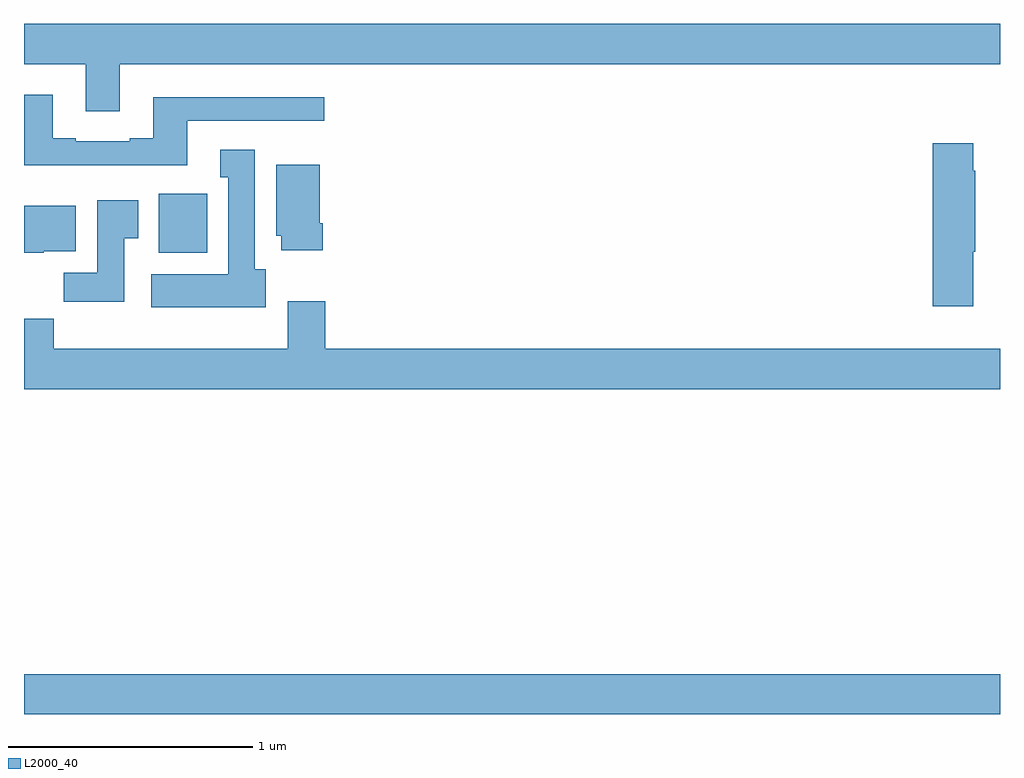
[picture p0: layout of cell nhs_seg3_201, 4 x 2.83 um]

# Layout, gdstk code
import gdstk
lib = gdstk.Library(unit=1e-6, precision=1e-09)
def R(c, l, rs):  # rectangles x0, y0, x1, y1
    for r in rs: c.add(gdstk.rectangle(r[:2], r[2:], *l))
def P(c, l, *ps):  # polygons
    for p in ps: c.add(gdstk.Polygon(p, *l))
L2000_40 = (2000, 40)

nhs_seg3_201 = lib.new_cell('nhs_seg3_201')
R(nhs_seg3_201, L2000_40, [(121,668.948,125,669.112), (121.553,670.838,121.75,671.08)])
P(nhs_seg3_201, L2000_40, [(121.393,671.612),(125,671.612),(125,671.776),(121,671.776),(121,671.612),(121.253,671.612),(121.253,671.418),(121.393,671.418)],
  [(121.669,671.379),(122.23,671.379),(122.23,671.476),(121.529,671.476),(121.529,671.308),(121.433,671.308),(121.433,671.295),(121.213,671.295),(121.213,671.308),(121.117,671.308),(121.117,671.485),(121,671.485),(121,671.198),(121.669,671.198)],
  [(124.891,670.843),(124.899,670.843),(124.899,671.174),(124.891,671.174),(124.891,671.287),(124.724,671.287),(124.724,670.62),(124.891,670.62)],
  [(121.99,670.77),(121.945,670.77),(121.945,671.26),(121.805,671.26),(121.805,671.147),(121.838,671.147),(121.838,670.75),(121.521,670.75),(121.521,670.616),(121.99,670.616)],
  [(122.225,670.96),(122.212,670.96),(122.212,671.2),(122.033,671.2),(122.033,670.908),(122.054,670.908),(122.054,670.848),(122.225,670.848)],
  [(121.411,670.897),(121.468,670.897),(121.468,671.053),(121.301,671.053),(121.301,670.756),(121.162,670.756),(121.162,670.638),(121.411,670.638)],
  [(121.08,670.844),(121.213,670.844),(121.213,671.032),(121,671.032),(121,670.838),(121.08,670.838)],
  [(125,670.444),(122.234,670.444),(122.234,670.639),(122.081,670.639),(122.081,670.444),(121.121,670.444),(121.121,670.568),(121,670.568),(121,670.28),(125,670.28)])

lib.write_gds('nhs_seg3_201.gds')
